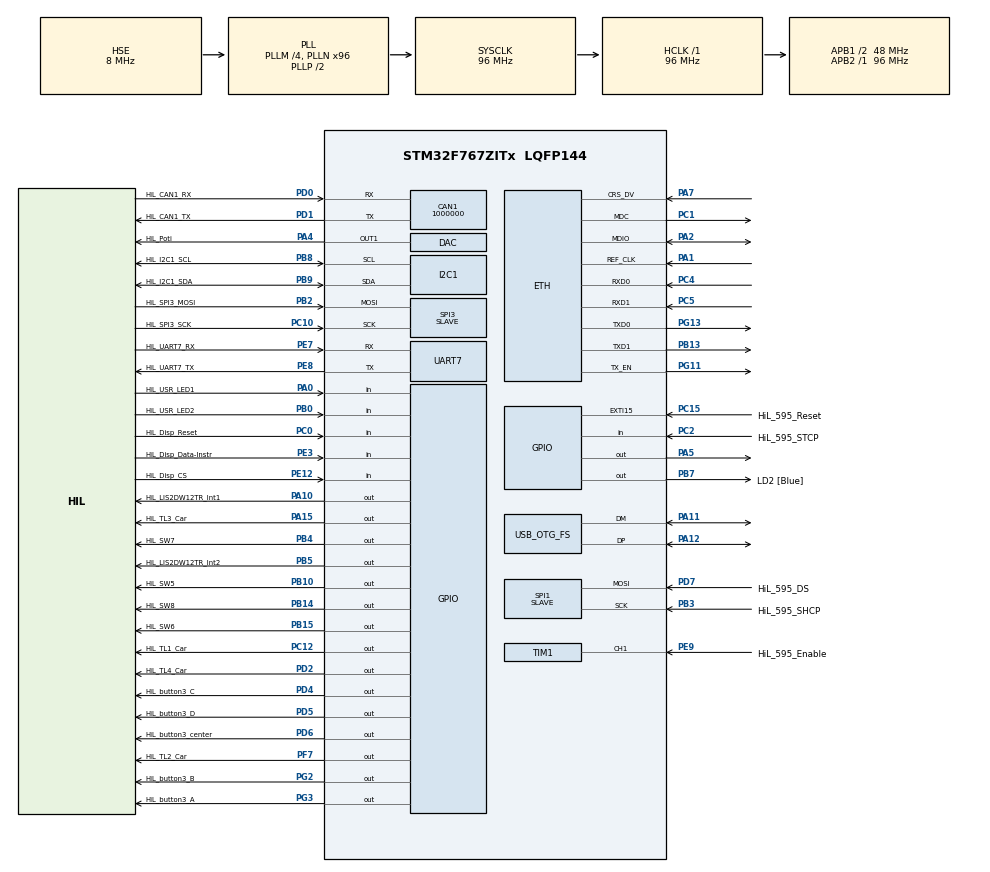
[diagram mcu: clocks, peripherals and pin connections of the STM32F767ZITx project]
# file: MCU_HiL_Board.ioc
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CAN1.CalculateBaudRate=1000000
CAN1.CalculateTimeQuantum=333.3333333333333
CORTEX_M7.CPU_DCache=Enabled
CORTEX_M7.CPU_ICache=Enabled
CORTEX_M7.PREFETCH_ENABLE=1
Dma.Request0=UART7_RX
Dma.Request1=SPI1_RX
Dma.SPI1_RX.1.Direction=DMA_PERIPH_TO_MEMORY
Dma.SPI1_RX.1.FIFOMode=DMA_FIFOMODE_DISABLE
Dma.SPI1_RX.1.Instance=DMA2_Stream0
Dma.SPI1_RX.1.MemDataAlignment=DMA_MDATAALIGN_BYTE
Dma.SPI1_RX.1.MemInc=DMA_MINC_ENABLE
Dma.SPI1_RX.1.Mode=DMA_NORMAL
Dma.SPI1_RX.1.PeriphDataAlignment=DMA_PDATAALIGN_BYTE
Dma.SPI1_RX.1.PeriphInc=DMA_PINC_DISABLE
Dma.SPI1_RX.1.Priority=DMA_PRIORITY_LOW
Dma.UART7_RX.0.Direction=DMA_PERIPH_TO_MEMORY
Dma.UART7_RX.0.FIFOMode=DMA_FIFOMODE_DISABLE
Dma.UART7_RX.0.Instance=DMA1_Stream3
Dma.UART7_RX.0.MemDataAlignment=DMA_MDATAALIGN_BYTE
Dma.UART7_RX.0.MemInc=DMA_MINC_ENABLE
Dma.UART7_RX.0.Mode=DMA_NORMAL
Dma.UART7_RX.0.PeriphDataAlignment=DMA_PDATAALIGN_BYTE
Dma.UART7_RX.0.PeriphInc=DMA_PINC_DISABLE
Dma.UART7_RX.0.Priority=DMA_PRIORITY_LOW
ETH.MediaInterface=HAL_ETH_RMII_MODE
FREERTOS.BinarySemaphores01=LightOnSem,Static,LightOnSemControlBlock
FREERTOS.Tasks01=Task_controller,24,256,StartTask_controller,Default,NULL,Dynamic,NULL,NULL;Task_SHT20,24,256,StartTask_SHT20,Default,NULL,Dynamic,NULL,NULL;Task_74HC595D,24,256,StartTask_74HC595D,Default,NULL,Dynamic,NULL,NULL
FREERTOS.configMINIMAL_STACK_SIZE=256
FREERTOS.configUSE_NEWLIB_REENTRANT=1
I2C1.Timing=0x20303E5D
Mcu.Family=STM32F7
Mcu.Name=STM32F767ZITx
Mcu.Package=LQFP144
NVIC.DMA1_Stream3_IRQn=true\:5\:0\:false\:false\:true\:true\:false\:true\:true
NVIC.DMA2_Stream0_IRQn=true\:5\:0\:false\:false\:true\:true\:false\:true\:true
NVIC.EXTI15_10_IRQn=true\:5\:0\:false\:false\:true\:true\:true\:true\:true
NVIC.OTG_FS_IRQn=true\:5\:0\:false\:false\:true\:true\:false\:true\:true
NVIC.PriorityGroup=NVIC_PRIORITYGROUP_4
NVIC.TIM1_CC_IRQn=true\:5\:0\:false\:false\:true\:true\:true\:true\:true
NVIC.TIM6_DAC_IRQn=true\:15\:0\:false\:false\:true\:false\:false\:true\:true
NVIC.TimeBase=TIM6_DAC_IRQn
NVIC.TimeBaseIP=TIM6
NVIC.UART7_IRQn=true\:5\:0\:false\:false\:true\:true\:true\:true\:true
PA0/WKUP.GPIO_Label=HiL_USR_LED1
PA0/WKUP.Signal=GPIO_Input
PA1.Mode=RMII
PA1.Signal=ETH_REF_CLK
PA10.GPIO_Label=HiL_LIS2DW12TR_Int1
PA10.Signal=GPIO_Output
PA11.Mode=Device_Only
PA11.Signal=USB_OTG_FS_DM
PA12.Mode=Device_Only
PA12.Signal=USB_OTG_FS_DP
PA13.GPIO_Label=TMS
PA13.Mode=Serial_Wire
PA13.Signal=SYS_JTMS-SWDIO
PA14.GPIO_Label=TCK
PA14.Mode=Serial_Wire
PA14.Signal=SYS_JTCK-SWCLK
PA15.GPIO_Label=HiL_TL3_Car
PA15.PinState=GPIO_PIN_RESET
PA15.Signal=GPIO_Output
PA2.Mode=RMII
PA2.Signal=ETH_MDIO
PA4.GPIO_Label=HiL_Poti
PA4.Signal=COMP_DAC1_group
PA5.Signal=GPIO_Output
PA7.Mode=RMII
PA7.Signal=ETH_CRS_DV
PB0.GPIO_Label=HiL_USR_LED2
PB0.Signal=GPIO_Input
PB10.GPIO_Label=HiL_SW5
PB10.GPIO_ModeDefaultOutputPP=GPIO_MODE_OUTPUT_OD
PB10.GPIO_PuPd=GPIO_NOPULL
PB10.PinState=GPIO_PIN_SET
PB10.Signal=GPIO_Output
PB13.Mode=RMII
PB13.Signal=ETH_TXD1
PB14.GPIO_Label=HiL_SW8
PB14.GPIO_ModeDefaultOutputPP=GPIO_MODE_OUTPUT_OD
PB14.GPIO_PuPd=GPIO_NOPULL
PB14.PinState=GPIO_PIN_SET
PB14.Signal=GPIO_Output
PB15.GPIO_Label=HiL_SW6
PB15.GPIO_ModeDefaultOutputPP=GPIO_MODE_OUTPUT_OD
PB15.GPIO_PuPd=GPIO_NOPULL
PB15.PinState=GPIO_PIN_SET
PB15.Signal=GPIO_Output
PB2.GPIO_Label=HiL_SPI3_MOSI
PB2.Mode=RX_Only_Simplex_Unidirect_Slave
PB2.Signal=SPI3_MOSI
PB3.GPIO_Label=HiL_595_SHCP
PB3.Mode=RX_Only_Simplex_Unidirect_Slave
PB3.Signal=SPI1_SCK
PB4.GPIO_Label=HiL_SW7
PB4.GPIO_ModeDefaultOutputPP=GPIO_MODE_OUTPUT_OD
PB4.GPIO_PuPd=GPIO_NOPULL
PB4.PinState=GPIO_PIN_SET
PB4.Signal=GPIO_Output
PB5.GPIO_Label=HiL_LIS2DW12TR_Int2
PB5.Signal=GPIO_Output
PB7.GPIO_Label=LD2 [Blue]
PB7.Signal=GPIO_Output
PB8.GPIO_Label=HiL_I2C1_SCL
PB8.Mode=I2C
PB8.Signal=I2C1_SCL
PB9.GPIO_Label=HiL_I2C1_SDA
PB9.Mode=I2C
PB9.Signal=I2C1_SDA
PC0.GPIO_Label=HiL_Disp_Reset
PC0.Signal=GPIO_Input
PC1.Mode=RMII
PC1.Signal=ETH_MDC
PC10.GPIO_Label=HiL_SPI3_SCK
PC10.Mode=RX_Only_Simplex_Unidirect_Slave
PC10.Signal=SPI3_SCK
PC12.GPIO_Label=HiL_TL1_Car
PC12.PinState=GPIO_PIN_RESET
PC12.Signal=GPIO_Output
PC15/OSC32_OUT.GPIO_Label=HiL_595_Reset
PC15/OSC32_OUT.GPIO_ModeDefaultEXTI=GPIO_MODE_IT_RISING
PC15/OSC32_OUT.GPIO_PuPd=GPIO_PULLUP
PC15/OSC32_OUT.Signal=GPXTI15
PC2.GPIO_Label=HiL_595_STCP
PC2.Signal=GPIO_Input
PC4.Mode=RMII
PC4.Signal=ETH_RXD0
PC5.Mode=RMII
PC5.Signal=ETH_RXD1
PD0.GPIO_Label=HiL_CAN1_RX
PD0.Mode=CAN_Activate
PD0.Signal=CAN1_RX
PD1.GPIO_Label=HiL_CAN1_TX
PD1.Mode=CAN_Activate
PD1.Signal=CAN1_TX
PD2.GPIO_Label=HiL_TL4_Car
PD2.PinState=GPIO_PIN_RESET
PD2.Signal=GPIO_Output
PD4.GPIO_Label=HiL_button3_C
PD4.GPIO_ModeDefaultOutputPP=GPIO_MODE_OUTPUT_OD
PD4.GPIO_PuPd=GPIO_NOPULL
PD4.PinState=GPIO_PIN_SET
PD4.Signal=GPIO_Output
PD5.GPIO_Label=HiL_button3_D
PD5.GPIO_ModeDefaultOutputPP=GPIO_MODE_OUTPUT_OD
PD5.GPIO_PuPd=GPIO_NOPULL
PD5.PinState=GPIO_PIN_SET
PD5.Signal=GPIO_Output
PD6.GPIO_Label=HiL_button3_center
PD6.GPIO_ModeDefaultOutputPP=GPIO_MODE_OUTPUT_OD
PD6.GPIO_PuPd=GPIO_NOPULL
PD6.PinState=GPIO_PIN_SET
PD6.Signal=GPIO_Output
PD7.GPIO_Label=HiL_595_DS
PD7.Mode=RX_Only_Simplex_Unidirect_Slave
PD7.Signal=SPI1_MOSI
PE12.GPIO_Label=HiL_Disp_CS
PE12.Signal=GPIO_Input
PE3.GPIO_Label=HiL_Disp_Data-Instr
PE3.Signal=GPIO_Input
PE7.GPIO_Label=HiL_UART7_RX
PE7.Mode=Asynchronous
PE7.Signal=UART7_RX
PE8.GPIO_Label=HiL_UART7_TX
PE8.Mode=Asynchronous
PE8.Signal=UART7_TX
PE9.GPIO_Label=HiL_595_Enable
PE9.Signal=S_TIM1_CH1
PF7.GPIO_Label=HiL_TL2_Car
PF7.PinState=GPIO_PIN_RESET
PF7.Signal=GPIO_Output
PG11.Mode=RMII
PG11.Signal=ETH_TX_EN
PG13.Mode=RMII
PG13.Signal=ETH_TXD0
PG2.GPIO_Label=HiL_button3_B
PG2.GPIO_ModeDefaultOutputPP=GPIO_MODE_OUTPUT_OD
PG2.GPIO_PuPd=GPIO_NOPULL
PG2.PinState=GPIO_PIN_SET
PG2.Signal=GPIO_Output
PG3.GPIO_Label=HiL_button3_A
PG3.GPIO_ModeDefaultOutputPP=GPIO_MODE_OUTPUT_OD
PG3.GPIO_PuPd=GPIO_NOPULL
PG3.PinState=GPIO_PIN_SET
PG3.Signal=GPIO_Output
PH0/OSC_IN.Mode=HSE-External-Oscillator
PH0/OSC_IN.Signal=RCC_OSC_IN
PH1/OSC_OUT.Mode=HSE-External-Oscillator
PH1/OSC_OUT.Signal=RCC_OSC_OUT
ProjectManager.HeapSize=0x200
ProjectManager.StackSize=0x400
ProjectManager.TargetToolchain=STM32CubeIDE
RCC.48MHZClocksFreq_Value=24000000
RCC.AHBFreq_Value=96000000
RCC.APB1CLKDivider=RCC_HCLK_DIV2
RCC.APB1Freq_Value=48000000
RCC.APB1TimFreq_Value=96000000
RCC.APB2Freq_Value=96000000
RCC.APB2TimFreq_Value=96000000
RCC.CortexFreq_Value=96000000
RCC.HCLKFreq_Value=96000000
RCC.HSE_VALUE=8000000
RCC.HSI_VALUE=16000000
RCC.LSE_VALUE=32768
RCC.PLLM=4
RCC.PLLMUL=RCC_PLL_MUL9
RCC.PLLN=96
RCC.PLLQ=4
RCC.PRESCALERUSB=RCC_USBCLKSOURCE_PLL_DIV1_5
RCC.SYSCLKFreq_VALUE=96000000
RCC.SYSCLKSource=RCC_SYSCLKSOURCE_PLLCLK
RCC.SYSCLKSourceVirtual=RCC_SYSCLKSOURCE_PLLCLK
RCC.USBFreq_Value=48000000
RCC.VCOOutputFreq_Value=192000000
SH.COMP_DAC1_group.0=DAC_OUT1,DAC_OUT1
SH.S_TIM1_CH1.0=TIM1_CH1,PWM_Input_1
SPI1.DataSize=SPI_DATASIZE_8BIT
SPI1.Direction=SPI_DIRECTION_2LINES_RXONLY
SPI1.Mode=SPI_MODE_SLAVE
SPI1.VirtualType=VM_SLAVE
SPI3.Direction=SPI_DIRECTION_2LINES_RXONLY
SPI3.Mode=SPI_MODE_SLAVE
SPI3.VirtualType=VM_SLAVE
USB_DEVICE.CLASS_NAME_FS=CDC
USB_DEVICE.PRODUCT_STRING_CDC_FS=STM32 Virtual Port
USB_DEVICE.VirtualMode-CDC_FS=Cdc
USB_DEVICE.VirtualModeFS=Cdc_FS
USB_OTG_FS.VirtualMode=Device_Only
VP_FREERTOS_VS_CMSIS_V2.Mode=CMSIS_V2
VP_SYS_VS_tim6.Mode=TIM6
VP_TIM1_VS_ClockSourceINT.Mode=Internal
VP_USB_DEVICE_VS_USB_DEVICE_CDC_FS.Mode=CDC_FS
board=NUCLEO-F767ZI

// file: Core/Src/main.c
/* USER CODE BEGIN Header */
/**
  ******************************************************************************
  * @file           : main.c
  * @brief          : Main program body
  ******************************************************************************
  * @attention
  *
  * Copyright (c) 2022 STMicroelectronics.
  * All rights reserved.
  *
  * This software is licensed under terms that can be found in the LICENSE file
  * in the root directory of this software component.
  * If no LICENSE file comes with this software, it is provided AS-IS.
  *
  ******************************************************************************
  */
/* USER CODE END Header */
#include "main.h"
#include "string.h"
#include "cmsis_os.h"
#include "usb_device.h"

/* USER CODE BEGIN Includes */
#include "usbd_cdc_if.h"
#include "HiL_controller.h"
#include "HiL_MSGQ.h"

/* USER CODE END Includes */

typedef StaticSemaphore_t osStaticSemaphoreDef_t;

#if defined ( __ICCARM__ ) /*!< IAR Compiler */
#pragma location=0x2007c000
ETH_DMADescTypeDef  DMARxDscrTab[ETH_RX_DESC_CNT]; /* Ethernet Rx DMA Descriptors */
#pragma location=0x2007c0a0
ETH_DMADescTypeDef  DMATxDscrTab[ETH_TX_DESC_CNT]; /* Ethernet Tx DMA Descriptors */

#elif defined ( __CC_ARM )  /* MDK ARM Compiler */

__attribute__((at(0x2007c000))) ETH_DMADescTypeDef  DMARxDscrTab[ETH_RX_DESC_CNT]; /* Ethernet Rx DMA Descriptors */
__attribute__((at(0x2007c0a0))) ETH_DMADescTypeDef  DMATxDscrTab[ETH_TX_DESC_CNT]; /* Ethernet Tx DMA Descriptors */

#elif defined ( __GNUC__ ) /* GNU Compiler */
ETH_DMADescTypeDef DMARxDscrTab[ETH_RX_DESC_CNT] __attribute__((section(".RxDecripSection"))); /* Ethernet Rx DMA Descriptors */
ETH_DMADescTypeDef DMATxDscrTab[ETH_TX_DESC_CNT] __attribute__((section(".TxDecripSection")));   /* Ethernet Tx DMA Descriptors */

#endif

ETH_TxPacketConfig TxConfig;

CAN_HandleTypeDef hcan1;

DAC_HandleTypeDef hdac;

ETH_HandleTypeDef heth;

I2C_HandleTypeDef hi2c1;

SPI_HandleTypeDef hspi1;
SPI_HandleTypeDef hspi3;
DMA_HandleTypeDef hdma_spi1_rx;

TIM_HandleTypeDef htim1;

UART_HandleTypeDef huart7;
DMA_HandleTypeDef hdma_uart7_rx;

/* Definitions for Task_controller */
osThreadId_t Task_controllerHandle;
const osThreadAttr_t Task_controller_attributes = {
  .name = "Task_controller",
  .stack_size = 256 * 4,
  .priority = (osPriority_t) osPriorityNormal,
};
/* Definitions for Task_SHT20 */
osThreadId_t Task_SHT20Handle;
const osThreadAttr_t Task_SHT20_attributes = {
  .name = "Task_SHT20",
  .stack_size = 256 * 4,
  .priority = (osPriority_t) osPriorityNormal,
};
/* Definitions for Task_74HC595D */
osThreadId_t Task_74HC595DHandle;
const osThreadAttr_t Task_74HC595D_attributes = {
  .name = "Task_74HC595D",
  .stack_size = 256 * 4,
  .priority = (osPriority_t) osPriorityNormal,
};
/* Definitions for LightOnSem */
osSemaphoreId_t LightOnSemHandle;
osStaticSemaphoreDef_t LightOnSemControlBlock;
const osSemaphoreAttr_t LightOnSem_attributes = {
  .name = "LightOnSem",
  .cb_mem = &LightOnSemControlBlock,
  .cb_size = sizeof(LightOnSemControlBlock),
};
/* USER CODE BEGIN PV */
osMessageQueueId_t USB_MSGQ_Rx;
//osMessageQueueId_t USB_MSGQ_Tx;		//Not currently in use

//Variables for emulated shift registers for LEDs
uint8_t light_state[3] = {0x00, 0x00, 0x00};

uint8_t temp_light_state[3];

/* USER CODE END PV */

void SystemClock_Config(void);
static void MX_GPIO_Init(void);
static void MX_CAN1_Init(void);
static void MX_DAC_Init(void);
static void MX_ETH_Init(void);
static void MX_I2C1_Init(void);
void MX_SPI1_Init(void);
static void MX_SPI3_Init(void);
static void MX_TIM1_Init(void);
static void MX_UART7_Init(void);
static void MX_DMA_Init(void);
void StartTask_controller(void *argument);
void StartTask_SHT20(void *argument);
void StartTask_74HC595D(void *argument);

/* USER CODE BEGIN PFP */

		// ####### ATTENTION: MX_SPI1_Init(); NEEDS TO BE WITHOUT STATIC KEYWORD.  #######

/* USER CODE END PFP */

/* USER CODE BEGIN 0 */
uint8_t uart_rx_buffer[HIL_UART_BUFFER_SIZE];

//extern void initialise_monitor_handles(void); //Enables the use of printf-statements. Has to be called as well.

/* USER CODE END 0 */

int main(void)
{

  /* Enable I-Cache---------------------------------------------------------*/
  SCB_EnableICache();

  /* Enable D-Cache---------------------------------------------------------*/
  SCB_EnableDCache();

  /* MCU Configuration--------------------------------------------------------*/

  /* Reset of all peripherals, Initializes the Flash interface and the Systick. */
  HAL_Init();

  /* USER CODE BEGIN Init */
  memset(temp_light_state, 0, sizeof(temp_light_state));		// Set all to 0.

  /* USER CODE END Init */

  /* Configure the system clock */
  SystemClock_Config();

  /* Initialize all configured peripherals */
  MX_GPIO_Init();

  MX_DMA_Init();

  MX_CAN1_Init();
  MX_DAC_Init();
  MX_ETH_Init();
  MX_I2C1_Init();
  MX_SPI1_Init();
  MX_SPI3_Init();
  MX_TIM1_Init();
  MX_UART7_Init();
  /* USER CODE BEGIN 2 */

  // ************************************************
  //	B I G  C A U T I O N !
  //	MX_DMA_Init(); needs to be before the Init of all other peripherals except GPIO.
  //	However, MxCube auto generates it to be after the peripherals.
  //	So whenever a change has been done the .ioc-file and code has been generated,
  //    the MX_DMA_Init();  n e e d s  t o  b e  m o v e d !
  //
  // ************************************************

  HAL_DAC_Start(&hdac, DAC_CHANNEL_1);
  HAL_UARTEx_ReceiveToIdle_DMA(&huart7, uart_rx_buffer, HIL_UART_BUFFER_SIZE);

//  initialise_monitor_handles();		//Enables the use of printf-statements. Use for debug.

  /* USER CODE END 2 */

  /* Init scheduler */
  osKernelInitialize();

  /* Create the semaphores(s) */
  /* creation of LightOnSem */
  LightOnSemHandle = osSemaphoreNew(1, 1, &LightOnSem_attributes);

  /* USER CODE BEGIN RTOS_QUEUES */
  /* add queues, ... */

  //Initialize the user defined message queues. E.g. USB RX.
  HiL_Init_MSGQ();

  /* USER CODE END RTOS_QUEUES */

  /* Create the thread(s) */
  /* creation of Task_controller */
  Task_controllerHandle = osThreadNew(StartTask_controller, NULL, &Task_controller_attributes);

  /* creation of Task_SHT20 */
  Task_SHT20Handle = osThreadNew(StartTask_SHT20, NULL, &Task_SHT20_attributes);

  /* creation of Task_74HC595D */
  Task_74HC595DHandle = osThreadNew(StartTask_74HC595D, NULL, &Task_74HC595D_attributes);

  /* Start scheduler */
  osKernelStart();

  /* We should never get here as control is now taken by the scheduler */
  /* Infinite loop */
  while (1)
  {

  }
}

void SystemClock_Config(void)
{
  RCC_OscInitTypeDef RCC_OscInitStruct = {0};
  RCC_ClkInitTypeDef RCC_ClkInitStruct = {0};

  /** Configure the main internal regulator output voltage
  */
  __HAL_RCC_PWR_CLK_ENABLE();
  __HAL_PWR_VOLTAGESCALING_CONFIG(PWR_REGULATOR_VOLTAGE_SCALE3);

  /** Initializes the RCC Oscillators according to the specified parameters
  * in the RCC_OscInitTypeDef structure.
  */
  RCC_OscInitStruct.OscillatorType = RCC_OSCILLATORTYPE_HSE;
  RCC_OscInitStruct.HSEState = RCC_HSE_ON;
  RCC_OscInitStruct.PLL.PLLState = RCC_PLL_ON;
  RCC_OscInitStruct.PLL.PLLSource = RCC_PLLSOURCE_HSE;
  RCC_OscInitStruct.PLL.PLLM = 4;
  RCC_OscInitStruct.PLL.PLLN = 96;
  RCC_OscInitStruct.PLL.PLLP = RCC_PLLP_DIV2;
  RCC_OscInitStruct.PLL.PLLQ = 4;
  RCC_OscInitStruct.PLL.PLLR = 2;
  if (HAL_RCC_OscConfig(&RCC_OscInitStruct) != HAL_OK)
  {
    Error_Handler();
  }

  /** Activate the Over-Drive mode
  */
  if (HAL_PWREx_EnableOverDrive() != HAL_OK)
  {
    Error_Handler();
  }

  /** Initializes the CPU, AHB and APB buses clocks
  */
  RCC_ClkInitStruct.ClockType = RCC_CLOCKTYPE_HCLK|RCC_CLOCKTYPE_SYSCLK
                              |RCC_CLOCKTYPE_PCLK1|RCC_CLOCKTYPE_PCLK2;
  RCC_ClkInitStruct.SYSCLKSource = RCC_SYSCLKSOURCE_PLLCLK;
  RCC_ClkInitStruct.AHBCLKDivider = RCC_SYSCLK_DIV1;
  RCC_ClkInitStruct.APB1CLKDivider = RCC_HCLK_DIV2;
  RCC_ClkInitStruct.APB2CLKDivider = RCC_HCLK_DIV1;

  if (HAL_RCC_ClockConfig(&RCC_ClkInitStruct, FLASH_LATENCY_3) != HAL_OK)
  {
    Error_Handler();
  }
}

static void MX_CAN1_Init(void)
{

  hcan1.Instance = CAN1;
  hcan1.Init.Prescaler = 16;
  hcan1.Init.Mode = CAN_MODE_NORMAL;
  hcan1.Init.SyncJumpWidth = CAN_SJW_1TQ;
  hcan1.Init.TimeSeg1 = CAN_BS1_1TQ;
  hcan1.Init.TimeSeg2 = CAN_BS2_1TQ;
  hcan1.Init.TimeTriggeredMode = DISABLE;
  hcan1.Init.AutoBusOff = DISABLE;
  hcan1.Init.AutoWakeUp = DISABLE;
  hcan1.Init.AutoRetransmission = DISABLE;
  hcan1.Init.ReceiveFifoLocked = DISABLE;
  hcan1.Init.TransmitFifoPriority = DISABLE;
  if (HAL_CAN_Init(&hcan1) != HAL_OK)
  {
    Error_Handler();
  }

}

static void MX_DAC_Init(void)
{

  DAC_ChannelConfTypeDef sConfig = {0};

  /** DAC Initialization
  */
  hdac.Instance = DAC;
  if (HAL_DAC_Init(&hdac) != HAL_OK)
  {
    Error_Handler();
  }

  /** DAC channel OUT1 config
  */
  sConfig.DAC_Trigger = DAC_TRIGGER_NONE;
  sConfig.DAC_OutputBuffer = DAC_OUTPUTBUFFER_ENABLE;
  if (HAL_DAC_ConfigChannel(&hdac, &sConfig, DAC_CHANNEL_1) != HAL_OK)
  {
    Error_Handler();
  }

}

static void MX_ETH_Init(void)
{

  /* USER CODE BEGIN ETH_Init 0 */

		// ****************************************

		// ETHERNET CONFIG IS KEPT DUE TO RESERVATION OF HARDWARE PINS, IF ETHERNET IS TO BE IMPLEMENTED IN THE FUTURE

		// ****************************************
  /* USER CODE END ETH_Init 0 */

   static uint8_t MACAddr[6];

  heth.Instance = ETH;
  MACAddr[0] = 0x00;
  MACAddr[1] = 0x80;
  MACAddr[2] = 0xE1;
  MACAddr[3] = 0x00;
  MACAddr[4] = 0x00;
  MACAddr[5] = 0x00;
  heth.Init.MACAddr = &MACAddr[0];
  heth.Init.MediaInterface = HAL_ETH_RMII_MODE;
  heth.Init.TxDesc = DMATxDscrTab;
  heth.Init.RxDesc = DMARxDscrTab;
  heth.Init.RxBuffLen = 1524;

  if (HAL_ETH_Init(&heth) != HAL_OK)
  {
    Error_Handler();
  }

  memset(&TxConfig, 0 , sizeof(ETH_TxPacketConfig));
  TxConfig.Attributes = ETH_TX_PACKETS_FEATURES_CSUM | ETH_TX_PACKETS_FEATURES_CRCPAD;
  TxConfig.ChecksumCtrl = ETH_CHECKSUM_IPHDR_PAYLOAD_INSERT_PHDR_CALC;
  TxConfig.CRCPadCtrl = ETH_CRC_PAD_INSERT;

}

static void MX_I2C1_Init(void)
{

  hi2c1.Instance = I2C1;
  hi2c1.Init.Timing = 0x20303E5D;
  hi2c1.Init.OwnAddress1 = 0;
  hi2c1.Init.AddressingMode = I2C_ADDRESSINGMODE_7BIT;
  hi2c1.Init.DualAddressMode = I2C_DUALADDRESS_DISABLE;
  hi2c1.Init.OwnAddress2 = 0;
  hi2c1.Init.OwnAddress2Masks = I2C_OA2_NOMASK;
  hi2c1.Init.GeneralCallMode = I2C_GENERALCALL_DISABLE;
  hi2c1.Init.NoStretchMode = I2C_NOSTRETCH_DISABLE;
  if (HAL_I2C_Init(&hi2c1) != HAL_OK)
  {
    Error_Handler();
  }

  /** Configure Analogue filter
  */
  if (HAL_I2CEx_ConfigAnalogFilter(&hi2c1, I2C_ANALOGFILTER_ENABLE) != HAL_OK)
  {
    Error_Handler();
  }

  /** Configure Digital filter
  */
  if (HAL_I2CEx_ConfigDigitalFilter(&hi2c1, 0) != HAL_OK)
  {
    Error_Handler();
  }

}

void MX_SPI1_Init(void)
{

  /* USER CODE BEGIN SPI1_Init 0 */

	 // ####### ATTENTION: MX_SPI1_Init(); NEEDS TO BE WITHOUT STATIC KEYWORD.  #######

  /* USER CODE END SPI1_Init 0 */

  /* SPI1 parameter configuration*/
  hspi1.Instance = SPI1;
  hspi1.Init.Mode = SPI_MODE_SLAVE;
  hspi1.Init.Direction = SPI_DIRECTION_2LINES_RXONLY;
  hspi1.Init.DataSize = SPI_DATASIZE_8BIT;
  hspi1.Init.CLKPolarity = SPI_POLARITY_LOW;
  hspi1.Init.CLKPhase = SPI_PHASE_1EDGE;
  hspi1.Init.NSS = SPI_NSS_SOFT;
  hspi1.Init.FirstBit = SPI_FIRSTBIT_MSB;
  hspi1.Init.TIMode = SPI_TIMODE_DISABLE;
  hspi1.Init.CRCCalculation = SPI_CRCCALCULATION_DISABLE;
  hspi1.Init.CRCPolynomial = 7;
  hspi1.Init.CRCLength = SPI_CRC_LENGTH_DATASIZE;
  hspi1.Init.NSSPMode = SPI_NSS_PULSE_DISABLE;
  if (HAL_SPI_Init(&hspi1) != HAL_OK)
  {
    Error_Handler();
  }

}

static void MX_SPI3_Init(void)
{

  /* SPI3 parameter configuration*/
  hspi3.Instance = SPI3;
  hspi3.Init.Mode = SPI_MODE_SLAVE;
  hspi3.Init.Direction = SPI_DIRECTION_2LINES_RXONLY;
  hspi3.Init.DataSize = SPI_DATASIZE_4BIT;
  hspi3.Init.CLKPolarity = SPI_POLARITY_LOW;
  hspi3.Init.CLKPhase = SPI_PHASE_1EDGE;
  hspi3.Init.NSS = SPI_NSS_SOFT;
  hspi3.Init.FirstBit = SPI_FIRSTBIT_MSB;
  hspi3.Init.TIMode = SPI_TIMODE_DISABLE;
  hspi3.Init.CRCCalculation = SPI_CRCCALCULATION_DISABLE;
  hspi3.Init.CRCPolynomial = 7;
  hspi3.Init.CRCLength = SPI_CRC_LENGTH_DATASIZE;
  hspi3.Init.NSSPMode = SPI_NSS_PULSE_DISABLE;
  if (HAL_SPI_Init(&hspi3) != HAL_OK)
  {
    Error_Handler();
  }

}

static void MX_TIM1_Init(void)
{

  TIM_ClockConfigTypeDef sClockSourceConfig = {0};
  TIM_SlaveConfigTypeDef sSlaveConfig = {0};
  TIM_IC_InitTypeDef sConfigIC = {0};
  TIM_MasterConfigTypeDef sMasterConfig = {0};

  htim1.Instance = TIM1;
  htim1.Init.Prescaler = 0;
  htim1.Init.CounterMode = TIM_COUNTERMODE_UP;
  htim1.Init.Period = 65535;
  htim1.Init.ClockDivision = TIM_CLOCKDIVISION_DIV1;
  htim1.Init.RepetitionCounter = 0;
  htim1.Init.AutoReloadPreload = TIM_AUTORELOAD_PRELOAD_DISABLE;
  if (HAL_TIM_Base_Init(&htim1) != HAL_OK)
  {
    Error_Handler();
  }
  sClockSourceConfig.ClockSource = TIM_CLOCKSOURCE_INTERNAL;
  if (HAL_TIM_ConfigClockSource(&htim1, &sClockSourceConfig) != HAL_OK)
  {
    Error_Handler();
  }
  if (HAL_TIM_IC_Init(&htim1) != HAL_OK)
  {
    Error_Handler();
  }
  sSlaveConfig.SlaveMode = TIM_SLAVEMODE_RESET;
  sSlaveConfig.InputTrigger = TIM_TS_TI1FP1;
  sSlaveConfig.TriggerPolarity = TIM_INPUTCHANNELPOLARITY_RISING;
  sSlaveConfig.TriggerPrescaler = TIM_ICPSC_DIV1;
  sSlaveConfig.TriggerFilter = 0;
  if (HAL_TIM_SlaveConfigSynchro(&htim1, &sSlaveConfig) != HAL_OK)
  {
    Error_Handler();
  }
  sConfigIC.ICPolarity = TIM_INPUTCHANNELPOLARITY_RISING;
  sConfigIC.ICSelection = TIM_ICSELECTION_DIRECTTI;
  sConfigIC.ICPrescaler = TIM_ICPSC_DIV1;
  sConfigIC.ICFilter = 0;
  if (HAL_TIM_IC_ConfigChannel(&htim1, &sConfigIC, TIM_CHANNEL_1) != HAL_OK)
  {
    Error_Handler();
  }
  sConfigIC.ICPolarity = TIM_INPUTCHANNELPOLARITY_FALLING;
  sConfigIC.ICSelection = TIM_ICSELECTION_INDIRECTTI;
  if (HAL_TIM_IC_ConfigChannel(&htim1, &sConfigIC, TIM_CHANNEL_2) != HAL_OK)
  {
    Error_Handler();
  }
  sMasterConfig.MasterOutputTrigger = TIM_TRGO_RESET;
  sMasterConfig.MasterOutputTrigger2 = TIM_TRGO2_RESET;
  sMasterConfig.MasterSlaveMode = TIM_MASTERSLAVEMODE_DISABLE;
  if (HAL_TIMEx_MasterConfigSynchronization(&htim1, &sMasterConfig) != HAL_OK)
  {
    Error_Handler();
  }

}

static void MX_UART7_Init(void)
{

  huart7.Instance = UART7;
  huart7.Init.BaudRate = 115200;
  huart7.Init.WordLength = UART_WORDLENGTH_8B;
  huart7.Init.StopBits = UART_STOPBITS_1;
  huart7.Init.Parity = UART_PARITY_NONE;
  huart7.Init.Mode = UART_MODE_TX_RX;
  huart7.Init.HwFlowCtl = UART_HWCONTROL_NONE;
  huart7.Init.OverSampling = UART_OVERSAMPLING_16;
  huart7.Init.OneBitSampling = UART_ONE_BIT_SAMPLE_DISABLE;
  huart7.AdvancedInit.AdvFeatureInit = UART_ADVFEATURE_NO_INIT;
  if (HAL_UART_Init(&huart7) != HAL_OK)
  {
    Error_Handler();
  }

}

static void MX_DMA_Init(void)
{

  /* DMA controller clock enable */
  __HAL_RCC_DMA1_CLK_ENABLE();
  __HAL_RCC_DMA2_CLK_ENABLE();

  /* DMA interrupt init */
  /* DMA1_Stream3_IRQn interrupt configuration */
  HAL_NVIC_SetPriority(DMA1_Stream3_IRQn, 5, 0);
  HAL_NVIC_EnableIRQ(DMA1_Stream3_IRQn);
  /* DMA2_Stream0_IRQn interrupt configuration */
  HAL_NVIC_SetPriority(DMA2_Stream0_IRQn, 5, 0);
  HAL_NVIC_EnableIRQ(DMA2_Stream0_IRQn);

}

static void MX_GPIO_Init(void)
{
  GPIO_InitTypeDef GPIO_InitStruct = {0};

  /* GPIO Ports Clock Enable */
  __HAL_RCC_GPIOE_CLK_ENABLE();
  __HAL_RCC_GPIOC_CLK_ENABLE();
  __HAL_RCC_GPIOF_CLK_ENABLE();
  __HAL_RCC_GPIOH_CLK_ENABLE();
  __HAL_RCC_GPIOA_CLK_ENABLE();
  __HAL_RCC_GPIOB_CLK_ENABLE();
  __HAL_RCC_GPIOG_CLK_ENABLE();
  __HAL_RCC_GPIOD_CLK_ENABLE();

  /*Configure GPIO pin Output Level */
  HAL_GPIO_WritePin(HiL_TL2_Car_GPIO_Port, HiL_TL2_Car_Pin, GPIO_PIN_RESET);

  /*Configure GPIO pin Output Level */
  HAL_GPIO_WritePin(GPIOA, GPIO_PIN_5|HiL_LIS2DW12TR_Int1_Pin|HiL_TL3_Car_Pin, GPIO_PIN_RESET);

  /*Configure GPIO pin Output Level */
  HAL_GPIO_WritePin(GPIOB, HiL_SW5_Pin|HiL_SW8_Pin|HiL_SW6_Pin|HiL_SW7_Pin, GPIO_PIN_SET);

  /*Configure GPIO pin Output Level */
  HAL_GPIO_WritePin(GPIOG, HiL_button3_B_Pin|HiL_button3_A_Pin, GPIO_PIN_SET);

  /*Configure GPIO pin Output Level */
  HAL_GPIO_WritePin(HiL_TL1_Car_GPIO_Port, HiL_TL1_Car_Pin, GPIO_PIN_RESET);

  /*Configure GPIO pin Output Level */
  HAL_GPIO_WritePin(HiL_TL4_Car_GPIO_Port, HiL_TL4_Car_Pin, GPIO_PIN_RESET);

  /*Configure GPIO pin Output Level */
  HAL_GPIO_WritePin(GPIOD, HiL_button3_C_Pin|HiL_button3_D_Pin|HiL_button3_center_Pin, GPIO_PIN_SET);

  /*Configure GPIO pin Output Level */
  HAL_GPIO_WritePin(GPIOB, HiL_LIS2DW12TR_Int2_Pin|LD2_Pin, GPIO_PIN_RESET);

  /*Configure GPIO pins : HiL_Disp_Data_Instr_Pin HiL_Disp_CS_Pin */
  GPIO_InitStruct.Pin = HiL_Disp_Data_Instr_Pin|HiL_Disp_CS_Pin;
  GPIO_InitStruct.Mode = GPIO_MODE_INPUT;
  GPIO_InitStruct.Pull = GPIO_NOPULL;
  HAL_GPIO_Init(GPIOE, &GPIO_InitStruct);

  /*Configure GPIO pin : HiL_595_Reset_Pin */
  GPIO_InitStruct.Pin = HiL_595_Reset_Pin;
  GPIO_InitStruct.Mode = GPIO_MODE_IT_RISING;
  GPIO_InitStruct.Pull = GPIO_PULLUP;
  HAL_GPIO_Init(HiL_595_Reset_GPIO_Port, &GPIO_InitStruct);

  /*Configure GPIO pin : HiL_TL2_Car_Pin */
  GPIO_InitStruct.Pin = HiL_TL2_Car_Pin;
  GPIO_InitStruct.Mode = GPIO_MODE_OUTPUT_PP;
  GPIO_InitStruct.Pull = GPIO_NOPULL;
  GPIO_InitStruct.Speed = GPIO_SPEED_FREQ_LOW;
  HAL_GPIO_Init(HiL_TL2_Car_GPIO_Port, &GPIO_InitStruct);

  /*Configure GPIO pins : HiL_Disp_Reset_Pin HiL_595_STCP_Pin */
  GPIO_InitStruct.Pin = HiL_Disp_Reset_Pin|HiL_595_STCP_Pin;
  GPIO_InitStruct.Mode = GPIO_MODE_INPUT;
  GPIO_InitStruct.Pull = GPIO_NOPULL;
  HAL_GPIO_Init(GPIOC, &GPIO_InitStruct);

  /*Configure GPIO pin : HiL_USR_LED1_Pin */
  GPIO_InitStruct.Pin = HiL_USR_LED1_Pin;
  GPIO_InitStruct.Mode = GPIO_MODE_INPUT;
  GPIO_InitStruct.Pull = GPIO_NOPULL;
  HAL_GPIO_Init(HiL_USR_LED1_GPIO_Port, &GPIO_InitStruct);

  /*Configure GPIO pins : PA5 HiL_LIS2DW12TR_Int1_Pin HiL_TL3_Car_Pin */
  GPIO_InitStruct.Pin = GPIO_PIN_5|HiL_LIS2DW12TR_Int1_Pin|HiL_TL3_Car_Pin;
  GPIO_InitStruct.Mode = GPIO_MODE_OUTPUT_PP;
  GPIO_InitStruct.Pull = GPIO_NOPULL;
  GPIO_InitStruct.Speed = GPIO_SPEED_FREQ_LOW;
  HAL_GPIO_Init(GPIOA, &GPIO_InitStruct);

  /*Configure GPIO pin : HiL_USR_LED2_Pin */
  GPIO_InitStruct.Pin = HiL_USR_LED2_Pin;
  GPIO_InitStruct.Mode = GPIO_MODE_INPUT;
  GPIO_InitStruct.Pull = GPIO_NOPULL;
  HAL_GPIO_Init(HiL_USR_LED2_GPIO_Port, &GPIO_InitStruct);

  /*Configure GPIO pins : HiL_SW5_Pin HiL_SW8_Pin HiL_SW6_Pin HiL_SW7_Pin */
  GPIO_InitStruct.Pin = HiL_SW5_Pin|HiL_SW8_Pin|HiL_SW6_Pin|HiL_SW7_Pin;
  GPIO_InitStruct.Mode = GPIO_MODE_OUTPUT_OD;
  GPIO_InitStruct.Pull = GPIO_NOPULL;
  GPIO_InitStruct.Speed = GPIO_SPEED_FREQ_LOW;
  HAL_GPIO_Init(GPIOB, &GPIO_InitStruct);

  /*Configure GPIO pins : HiL_button3_B_Pin HiL_button3_A_Pin */
  GPIO_InitStruct.Pin = HiL_button3_B_Pin|HiL_button3_A_Pin;
  GPIO_InitStruct.Mode = GPIO_MODE_OUTPUT_OD;
  GPIO_InitStruct.Pull = GPIO_NOPULL;
  GPIO_InitStruct.Speed = GPIO_SPEED_FREQ_LOW;
  HAL_GPIO_Init(GPIOG, &GPIO_InitStruct);

  /*Configure GPIO pin : HiL_TL1_Car_Pin */
  GPIO_InitStruct.Pin = HiL_TL1_Car_Pin;
  GPIO_InitStruct.Mode = GPIO_MODE_OUTPUT_PP;
  GPIO_InitStruct.Pull = GPIO_NOPULL;
  GPIO_InitStruct.Speed = GPIO_SPEED_FREQ_LOW;
  HAL_GPIO_Init(HiL_TL1_Car_GPIO_Port, &GPIO_InitStruct);

  /*Configure GPIO pin : HiL_TL4_Car_Pin */
  GPIO_InitStruct.Pin = HiL_TL4_Car_Pin;
  GPIO_InitStruct.Mode = GPIO_MODE_OUTPUT_PP;
  GPIO_InitStruct.Pull = GPIO_NOPULL;
  GPIO_InitStruct.Speed = GPIO_SPEED_FREQ_LOW;
  HAL_GPIO_Init(HiL_TL4_Car_GPIO_Port, &GPIO_InitStruct);

  /*Configure GPIO pins : HiL_button3_C_Pin HiL_button3_D_Pin HiL_button3_center_Pin */
  GPIO_InitStruct.Pin = HiL_button3_C_Pin|HiL_button3_D_Pin|HiL_button3_center_Pin;
  GPIO_InitStruct.Mode = GPIO_MODE_OUTPUT_OD;
  GPIO_InitStruct.Pull = GPIO_NOPULL;
  GPIO_InitStruct.Speed = GPIO_SPEED_FREQ_LOW;
  HAL_GPIO_Init(GPIOD, &GPIO_InitStruct);

  /*Configure GPIO pins : HiL_LIS2DW12TR_Int2_Pin LD2_Pin */
  GPIO_InitStruct.Pin = HiL_LIS2DW12TR_Int2_Pin|LD2_Pin;
  GPIO_InitStruct.Mode = GPIO_MODE_OUTPUT_PP;
  GPIO_InitStruct.Pull = GPIO_NOPULL;
  GPIO_InitStruct.Speed = GPIO_SPEED_FREQ_LOW;
  HAL_GPIO_Init(GPIOB, &GPIO_InitStruct);

  /* EXTI interrupt init*/
  HAL_NVIC_SetPriority(EXTI15_10_IRQn, 5, 0);
  HAL_NVIC_EnableIRQ(EXTI15_10_IRQn);

}

void StartTask_controller(void *argument)
{
  /* init code for USB_DEVICE */
  MX_USB_DEVICE_Init();
  /* USER CODE BEGIN 5 */

  MSGQ_obj msg;
  osStatus status;
  uint8_t recieve_message[4];

  /* Infinite loop */
  for(;;)
  {
	  if( USB_MSGQ_Rx != NULL )
	 	  {

	 			status = osMessageQueueGet(USB_MSGQ_Rx, &msg, NULL, 0U);		// Try to get message with instructions from USB message queue

	 			if (status == osOK)
	 			{
	 				for (int i = 0; i < sizeof(msg.Buf); i++)
	 				{
	 					recieve_message[i] = msg.Buf[i];						//Copy message
	 				}

	 				HiL_controller_read_message(recieve_message);				//Process request
	 			}
	 	  }
	  osDelay(10);
  }
  /* USER CODE END 5 */
}

void StartTask_SHT20(void *argument)
{
  /* USER CODE BEGIN StartTask_SHT20 */
  /* Infinite loop */
  for(;;)
  {

    osDelay(1000);							//Not implemented.
  }
  /* USER CODE END StartTask_SHT20 */
}

void StartTask_74HC595D(void *argument)
{
  /* USER CODE BEGIN StartTask_74HC595D */
	osStatus status;
	osSemaphoreAcquire(LightOnSemHandle, 1000);

  /* Infinite loop */
  for(;;)
  {

	  HAL_SPI_Receive_DMA(&hspi1, temp_light_state, sizeof(temp_light_state));

	  again:
	  	  status = osSemaphoreAcquire(LightOnSemHandle, 2000);
	  	  if(status != osOK){

	  		  goto again;
	  	  }
	  	  memcpy(light_state, temp_light_state, sizeof(light_state));
	  osDelay(10);
  }
  /* USER CODE END StartTask_74HC595D */
}

void HAL_TIM_PeriodElapsedCallback(TIM_HandleTypeDef *htim)
{
  if (htim->Instance == TIM6) {
    HAL_IncTick();
  }
}

void Error_Handler(void)
{
  __disable_irq();
  while (1)
  {
  }
}
